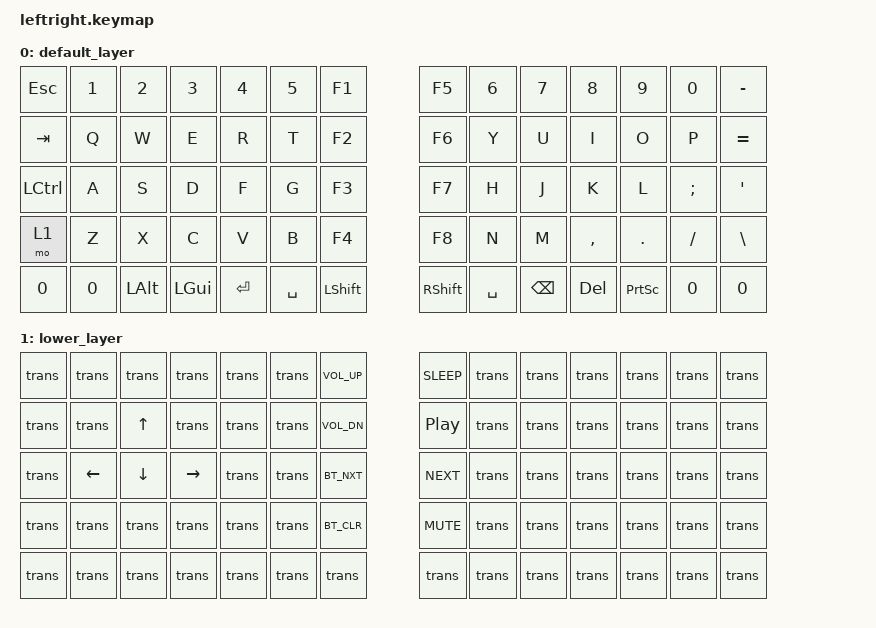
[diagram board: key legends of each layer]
/*
 * Copyright (c) 2020 The ZMK Contributors
 *
 * SPDX-License-Identifier: MIT
 */

#include <behaviors.dtsi>
#include <dt-bindings/zmk/keys.h>
#include <dt-bindings/zmk/bt.h>

/ {
        keymap {
                compatible = "zmk,keymap";
                default_layer {
                        bindings = <

   &kp ESC   &kp 1 &kp 2 &kp 3 &kp 4 &kp 5 &kp F1           &kp F5 &kp 6 &kp 7 &kp 8     &kp 9   &kp 0    &kp MINUS
   &kp TAB   &kp Q &kp W &kp E &kp R &kp T &kp F2           &kp F6 &kp Y &kp U &kp I     &kp O   &kp P    &kp EQUAL
   &kp LCTRL &kp A &kp S &kp D &kp F &kp G &kp F3           &kp F7 &kp H &kp J &kp K     &kp L   &kp SEMI &kp APOS
   &mo 1     &kp Z &kp X &kp C &kp V &kp B &kp F4           &kp F8 &kp N &kp M &kp COMMA &kp DOT &kp FSLH &kp BSLH
   &kp 0 &kp 0 &kp LALT &kp LGUI &kp RET &kp SPACE &kp LSHIFT           &kp RSHIFT &kp SPACE &kp BSPC &kp DEL &kp PSCRN &kp 0 &kp 0

                        >;
                };


                lower_layer {
                        bindings = <

   &kp trans &kp trans &kp trans &kp trans &kp trans &kp trans &kp C_VOL_UP           &kp K_SLEEP      &kp trans &kp trans &kp trans &kp trans &kp trans &kp trans
   &kp trans &kp trans &kp UP    &kp trans &kp trans &kp trans &kp C_VOL_DN           &kp C_PLAY_PAUSE &kp trans &kp trans &kp trans &kp trans &kp trans &kp trans
   &kp trans &kp LEFT  &kp DOWN  &kp RIGHT &kp trans &kp trans &kp BT_NXT             &kp C_NEXT       &kp trans &kp trans &kp trans &kp trans &kp trans &kp trans
   &kp trans &kp trans &kp trans &kp trans &kp trans &kp trans &kp BT_CLR             &kp C_MUTE       &kp trans &kp trans &kp trans &kp trans &kp trans &kp trans
   &kp trans &kp trans &kp trans &kp trans &kp trans &kp trans &kp trans              &kp trans &kp trans &kp trans &kp trans &kp trans &kp trans &kp trans
   
                        >;
                };
        };
};
